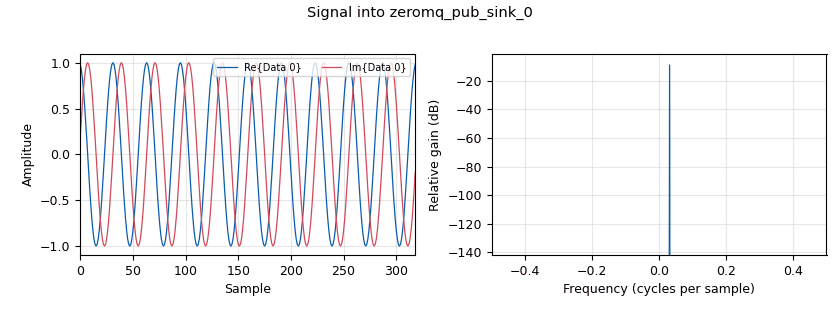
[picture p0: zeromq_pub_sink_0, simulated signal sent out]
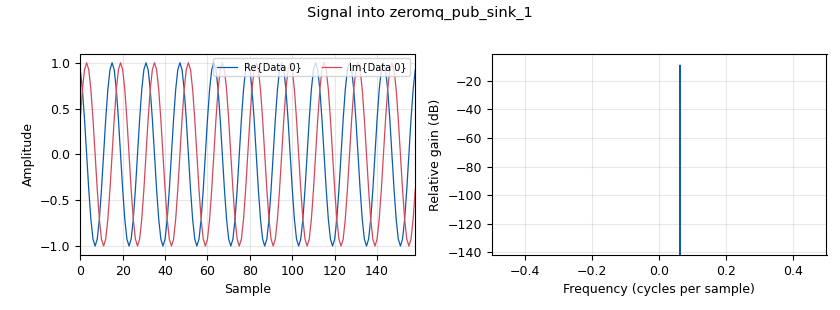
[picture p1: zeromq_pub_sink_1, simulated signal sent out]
options:
  parameters:
    generate_options: qt_gui
    id: top_block
    title: pub_proxy_example
  states: {}

blocks:
- name: samp_rate
  id: variable
  parameters:
    value: '32000'
  states: {}
- name: analog_sig_source_x_0
  id: analog_sig_source_x
  parameters:
    amp: '1'
    freq: '1000'
    offset: '0'
    samp_rate: samp_rate
    type: complex
    waveform: analog.GR_COS_WAVE
  states: {}
- name: analog_sig_source_x_1
  id: analog_sig_source_x
  parameters:
    amp: '1'
    freq: '2000'
    offset: '0'
    samp_rate: samp_rate
    type: complex
    waveform: analog.GR_COS_WAVE
  states: {}
- name: analog_sig_source_x_2
  id: analog_sig_source_x
  parameters:
    amp: '1'
    freq: '3000'
    offset: '0'
    samp_rate: samp_rate
    type: complex
    waveform: analog.GR_COS_WAVE
  states: {}
- name: analog_sig_source_x_3
  id: analog_sig_source_x
  parameters:
    amp: '1'
    freq: '4000'
    offset: '0'
    samp_rate: samp_rate
    type: complex
    waveform: analog.GR_COS_WAVE
  states: {}
- name: blocks_throttle_0
  id: blocks_throttle
  parameters:
    samples_per_second: samp_rate
    type: complex
  states: {}
- name: blocks_throttle_1
  id: blocks_throttle
  parameters:
    samples_per_second: samp_rate
    type: complex
  states: {}
- name: blocks_throttle_2
  id: blocks_throttle
  parameters:
    samples_per_second: samp_rate
    type: complex
  states: {}
- name: blocks_throttle_3
  id: blocks_throttle
  parameters:
    samples_per_second: samp_rate
    type: complex
  states: {}
- name: qtgui_time_sink_x_0
  id: qtgui_time_sink_x
  parameters:
    color2: green
    marker1: '1'
    marker2: '1'
    name: '"1kHz signal"'
    size: '1024'
    srate: samp_rate
    type: complex
  states: {}
- name: qtgui_time_sink_x_1
  id: qtgui_time_sink_x
  parameters:
    color2: green
    marker1: '1'
    marker2: '1'
    name: '"2kHz Signal"'
    size: '1024'
    srate: samp_rate
    type: complex
  states: {}
- name: zeromq_pub_proxy_0
  id: zeromq_pub_proxy
  parameters:
    address_in: tcp://127.0.0.1:5001
    address_out: tcp://127.0.0.1:5002
  states: {}
- name: zeromq_pub_sink_0
  id: zeromq_pub_sink
  parameters:
    address: '''tcp://127.0.0.1:5001'''
    key: '''1kHz_filter'''
    proxy_forward: 'True'
    timeout: '100'
    type: complex
  states: {}
- name: zeromq_pub_sink_1
  id: zeromq_pub_sink
  parameters:
    address: '''tcp://127.0.0.1:5001'''
    key: '''2kHz_filter_key'''
    proxy_forward: 'True'
    timeout: '100'
    type: complex
  states: {}
- name: zeromq_pub_sink_2
  id: zeromq_pub_sink
  parameters:
    address: '''tcp://127.0.0.1:5001'''
    key: '''3kHz_filter'''
    proxy_forward: 'True'
    timeout: '100'
    type: complex
  states: {}
- name: zeromq_pub_sink_3
  id: zeromq_pub_sink
  parameters:
    address: '''tcp://127.0.0.1:5001'''
    key: '''4kHz_filter_key'''
    proxy_forward: 'True'
    timeout: '100'
    type: complex
  states: {}
- name: zeromq_sub_source_0
  id: zeromq_sub_source
  parameters:
    address: tcp://127.0.0.1:5002
    key: '''1kHz_filter'''
    timeout: '100'
    type: complex
  states: {}
- name: zeromq_sub_source_1
  id: zeromq_sub_source
  parameters:
    address: tcp://127.0.0.1:5002
    key: '''2kHz_filter'''
    timeout: '100'
    type: complex
  states: {}

connections:
- [analog_sig_source_x_0, '0', blocks_throttle_0, '0']
- [analog_sig_source_x_1, '0', blocks_throttle_1, '0']
- [analog_sig_source_x_2, '0', blocks_throttle_2, '0']
- [analog_sig_source_x_3, '0', blocks_throttle_3, '0']
- [blocks_throttle_0, '0', zeromq_pub_sink_0, '0']
- [blocks_throttle_1, '0', zeromq_pub_sink_1, '0']
- [blocks_throttle_2, '0', zeromq_pub_sink_2, '0']
- [blocks_throttle_3, '0', zeromq_pub_sink_3, '0']
- [zeromq_sub_source_0, '0', qtgui_time_sink_x_0, '0']
- [zeromq_sub_source_1, '0', qtgui_time_sink_x_1, '0']

metadata:
  file_format: 1
